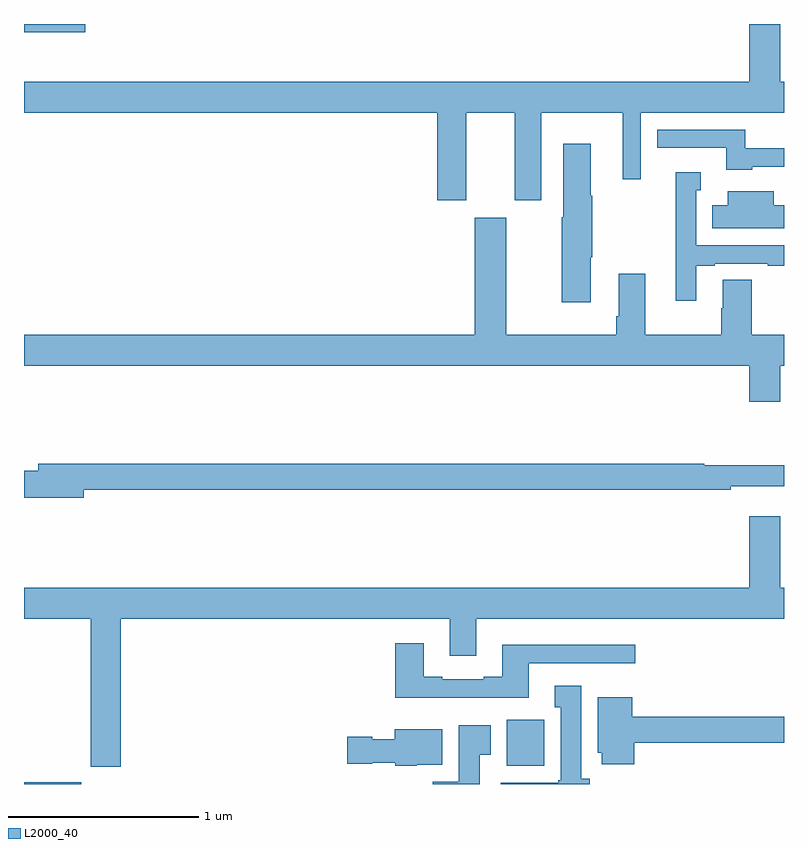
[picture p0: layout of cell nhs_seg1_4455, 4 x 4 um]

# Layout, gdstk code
import gdstk
lib = gdstk.Library(unit=1e-6, precision=1e-09)
def R(c, l, rs):  # rectangles x0, y0, x1, y1
    for r in rs: c.add(gdstk.rectangle(r[:2], r[2:], *l))
def P(c, l, *ps):  # polygons
    for p in ps: c.add(gdstk.Polygon(p, *l))
L2000_40 = (2000, 40)

nhs_seg1_4455 = lib.new_cell('nhs_seg1_4455')
R(nhs_seg1_4455, L2000_40, [(353,548.199,353.302,548.209), (355.541,548.294,355.738,548.536), (353,552.155,353.323,552.199)])
P(nhs_seg1_4455, L2000_40, [(355.327,551.732),(355.583,551.732),(355.583,551.271),(355.723,551.271),(355.723,551.732),(356.15,551.732),(356.15,551.382),(356.247,551.382),(356.247,551.732),(357,551.732),(357,551.896),(356.98,551.896),(356.98,552.199),(356.816,552.199),(356.816,551.896),(353,551.896),(353,551.732),(355.175,551.732),(355.175,551.271),(355.327,551.271)],
  [(356.832,551.448),(357,551.448),(357,551.544),(356.796,551.544),(356.796,551.643),(356.332,551.643),(356.332,551.547),(356.696,551.547),(356.696,551.432),(356.832,551.432)],
  [(355.984,550.972),(355.992,550.972),(355.992,551.294),(355.984,551.294),(355.984,551.569),(355.838,551.569),(355.838,551.183),(355.831,551.183),(355.831,550.734),(355.984,550.734)],
  [(356.539,550.926),(356.635,550.926),(356.635,550.938),(356.914,550.938),(356.914,550.926),(357,550.926),(357,551.034),(356.538,551.034),(356.538,551.325),(356.563,551.325),(356.563,551.419),(356.43,551.419),(356.43,550.987),(356.429,550.987),(356.429,550.743),(356.539,550.743)],
  [(357,551.245),(356.947,551.245),(356.947,551.32),(356.705,551.32),(356.705,551.245),(356.623,551.245),(356.623,551.123),(357,551.123)],
  [(356.98,550.4),(357,550.4),(357,550.564),(356.831,550.564),(356.831,550.853),(356.678,550.853),(356.678,550.703),(356.671,550.703),(356.671,550.564),(356.269,550.564),(356.269,550.885),(356.129,550.885),(356.129,550.66),(356.117,550.66),(356.117,550.564),(355.537,550.564),(355.537,551.179),(355.373,551.179),(355.373,550.564),(353,550.564),(353,550.4),(356.816,550.4),(356.816,550.212),(356.98,550.212)],
  [(353.314,549.748),(356.72,549.748),(356.72,549.767),(357,549.767),(357,549.877),(356.579,549.877),(356.579,549.884),(353.075,549.884),(353.075,549.848),(353,549.848),(353,549.706),(353.314,549.706)],
  [(353.51,549.068),(355.241,549.068),(355.241,548.874),(355.381,548.874),(355.381,549.068),(357,549.068),(357,549.232),(356.98,549.232),(356.98,549.607),(356.816,549.607),(356.816,549.232),(353,549.232),(353,549.068),(353.35,549.068),(353.35,548.289),(353.51,548.289)],
  [(355.657,548.835),(356.218,548.835),(356.218,548.932),(355.517,548.932),(355.517,548.764),(355.421,548.764),(355.421,548.751),(355.201,548.751),(355.201,548.764),(355.105,548.764),(355.105,548.941),(354.953,548.941),(354.953,548.654),(355.657,548.654)],
  [(355.978,548.226),(355.933,548.226),(355.933,548.716),(355.793,548.716),(355.793,548.603),(355.826,548.603),(355.826,548.22),(355.813,548.22),(355.813,548.206),(355.509,548.206),(355.509,548.199),(355.978,548.199)],
  [(356.213,548.416),(357,548.416),(357,548.552),(356.2,548.552),(356.2,548.656),(356.021,548.656),(356.021,548.364),(356.042,548.364),(356.042,548.304),(356.213,548.304)],
  [(355.399,548.353),(355.456,548.353),(355.456,548.509),(355.289,548.509),(355.289,548.212),(355.15,548.212),(355.15,548.199),(355.399,548.199)],
  [(355.068,548.3),(355.201,548.3),(355.201,548.488),(354.95,548.488),(354.95,548.434),(354.834,548.434),(354.834,548.447),(354.702,548.447),(354.702,548.305),(354.834,548.305),(354.834,548.312),(354.954,548.312),(354.954,548.294),(355.068,548.294)])

lib.write_gds('nhs_seg1_4455.gds')
